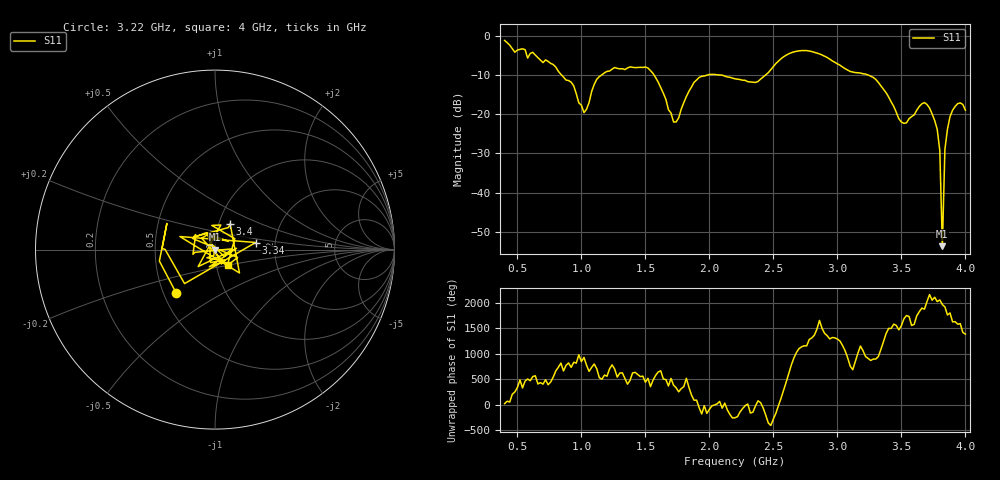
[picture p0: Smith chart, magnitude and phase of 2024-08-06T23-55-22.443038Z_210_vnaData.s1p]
!Created with skrf (http://scikit-rf.org).
# Hz S RI R 50.0
!freq ReS11 ImS11
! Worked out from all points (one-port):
!   181 points, 400 MHz to 4 GHz, reference 50 ohm
!   lowest |S11| = -53.6 dB at 3.82 GHz (marker M1), VSWR 1.00, Z = 49.8 + j0.0473 ohm
!   |S11| at or under -10 dB: 1.567 GHz to 1.987 GHz (419.3 MHz wide, 23.6 % of centre); 2.087 GHz to 2.439 GHz (352 MHz wide, 15.6 % of centre); 3.24 GHz to end of sweep (the widest 3 of 4)
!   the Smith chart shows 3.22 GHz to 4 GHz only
!   S11 on the Smith chart (normalised r, x): 3.22 GHz: 0.58, -0.32; 3.34 GHz: 1.58, +0.13; 3.4 GHz: 1.13, +0.33; 4 GHz: 1.13, -0.20
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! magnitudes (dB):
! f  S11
! 400 MHz  -1.2
! 860 MHz  -10.5
! 940 MHz  -12.8
! 1.02 GHz  -19.6
! 1.12 GHz  -11.1
! 1.3 GHz  -8.4
! 1.52 GHz  -8.2
! 1.6 GHz  -11.8
! 1.72 GHz  -22.0
! 1.76 GHz  -20.9
! 1.92 GHz  -10.6
! 2.2 GHz  -11.0
! 2.38 GHz  -11.6
! 2.66 GHz  -4.1
! 3.1 GHz  -9.1
! 3.22 GHz  -9.8
! 3.34 GHz  -12.8
! 3.4 GHz  -15.6
! 3.5 GHz  -22.0
! 3.56 GHz  -21.1
! 3.68 GHz  -17.0
! 3.78 GHz  -23.9
! 3.8 GHz  -29.2
! 3.82 GHz  -53.6
! 3.84 GHz  -28.9
! 3.86 GHz  -23.8
! 3.94 GHz  -17.3
! 4 GHz  -19.0
